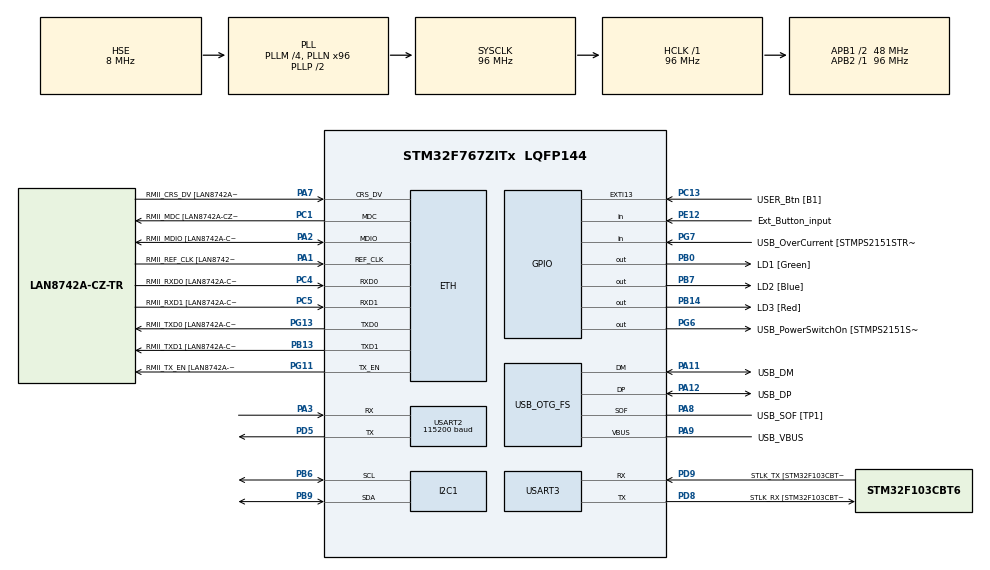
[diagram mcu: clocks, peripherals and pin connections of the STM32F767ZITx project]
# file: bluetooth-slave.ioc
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ETH.MediaInterface=HAL_ETH_RMII_MODE
ETH.PHY_Name=LAN8742A_PHY_ADDRESS
ETH.PHY_Value=0
ETH.PhyAddress=0
I2C1.Timing=0x20303E5D
Mcu.Family=STM32F7
Mcu.Name=STM32F767ZITx
Mcu.Package=LQFP144
NVIC.PriorityGroup=NVIC_PRIORITYGROUP_4
NVIC.USART2_IRQn=true\:0\:0\:false\:false\:true\:true\:true\:true
PA1.GPIO_Label=RMII_REF_CLK [LAN8742A-CZ-TR_REFCLK0]
PA1.Mode=RMII
PA1.Signal=ETH_REF_CLK
PA10.GPIO_Label=USB_ID
PA10.Signal=USB_OTG_FS_ID
PA11.GPIO_Label=USB_DM
PA11.Mode=Device_Only
PA11.Signal=USB_OTG_FS_DM
PA12.GPIO_Label=USB_DP
PA12.Mode=Device_Only
PA12.Signal=USB_OTG_FS_DP
PA13.GPIO_Label=TMS
PA13.Mode=Serial_Wire
PA13.Signal=SYS_JTMS-SWDIO
PA14.GPIO_Label=TCK
PA14.Mode=Serial_Wire
PA14.Signal=SYS_JTCK-SWCLK
PA2.GPIO_Label=RMII_MDIO [LAN8742A-CZ-TR_MDIO]
PA2.Mode=RMII
PA2.Signal=ETH_MDIO
PA3.Mode=Asynchronous
PA3.Signal=USART2_RX
PA7.GPIO_Label=RMII_CRS_DV [LAN8742A-CZ-TR_CRS_DV]
PA7.Mode=RMII
PA7.Signal=ETH_CRS_DV
PA8.GPIO_Label=USB_SOF [TP1]
PA8.Mode=Activate_SOF_FS
PA8.Signal=USB_OTG_FS_SOF
PA9.GPIO_Label=USB_VBUS
PA9.Mode=Activate_VBUS
PA9.Signal=USB_OTG_FS_VBUS
PB0.GPIO_Label=LD1 [Green]
PB0.Signal=GPIO_Output
PB13.GPIO_Label=RMII_TXD1 [LAN8742A-CZ-TR_TXD1]
PB13.Mode=RMII
PB13.Signal=ETH_TXD1
PB14.GPIO_Label=LD3 [Red]
PB14.Signal=GPIO_Output
PB3.GPIO_Label=SWO
PB3.Signal=SYS_JTDO-SWO
PB6.GPIO_Pu=GPIO_PULLUP
PB6.Mode=I2C
PB6.Signal=I2C1_SCL
PB7.GPIO_Label=LD2 [Blue]
PB7.Signal=GPIO_Output
PB9.GPIO_Pu=GPIO_PULLUP
PB9.Mode=I2C
PB9.Signal=I2C1_SDA
PC1.GPIO_Label=RMII_MDC [LAN8742A-CZ-TR_MDC]
PC1.Mode=RMII
PC1.Signal=ETH_MDC
PC13.GPIO_Label=USER_Btn [B1]
PC13.Signal=GPXTI13
PC14/OSC32_IN.Mode=LSE-External-Oscillator
PC14/OSC32_IN.Signal=RCC_OSC32_IN
PC15/OSC32_OUT.Mode=LSE-External-Oscillator
PC15/OSC32_OUT.Signal=RCC_OSC32_OUT
PC4.GPIO_Label=RMII_RXD0 [LAN8742A-CZ-TR_RXD0]
PC4.Mode=RMII
PC4.Signal=ETH_RXD0
PC5.GPIO_Label=RMII_RXD1 [LAN8742A-CZ-TR_RXD1]
PC5.Mode=RMII
PC5.Signal=ETH_RXD1
PD5.Mode=Asynchronous
PD5.Signal=USART2_TX
PD8.GPIO_Label=STLK_RX [STM32F103CBT6_PA3]
PD8.Mode=Asynchronous
PD8.Signal=USART3_TX
PD9.GPIO_Label=STLK_TX [STM32F103CBT6_PA2]
PD9.Mode=Asynchronous
PD9.Signal=USART3_RX
PE12.GPIO_Label=Ext_Button_input
PE12.GPIO_PuPd=GPIO_NOPULL
PE12.Signal=GPIO_Input
PG11.GPIO_Label=RMII_TX_EN [LAN8742A-CZ-TR_TXEN]
PG11.Mode=RMII
PG11.Signal=ETH_TX_EN
PG13.GPIO_Label=RMII_TXD0 [LAN8742A-CZ-TR_TXD0]
PG13.Mode=RMII
PG13.Signal=ETH_TXD0
PG6.GPIO_Label=USB_PowerSwitchOn [STMPS2151STR_EN]
PG6.Signal=GPIO_Output
PG7.GPIO_Label=USB_OverCurrent [STMPS2151STR_FAULT]
PG7.Signal=GPIO_Input
PH0/OSC_IN.GPIO_Label=MCO [STM32F103CBT6_PA8]
PH0/OSC_IN.Mode=HSE-External-Clock-Source
PH0/OSC_IN.Signal=RCC_OSC_IN
PH1/OSC_OUT.Mode=HSE-External-Clock-Source
PH1/OSC_OUT.Signal=RCC_OSC_OUT
ProjectManager.HeapSize=0x200
ProjectManager.StackSize=0x400
ProjectManager.TargetToolchain=STM32CubeIDE
RCC.48MHZClocksFreq_Value=24000000
RCC.AHBFreq_Value=96000000
RCC.APB1CLKDivider=RCC_HCLK_DIV2
RCC.APB1Freq_Value=48000000
RCC.APB1TimFreq_Value=96000000
RCC.APB2Freq_Value=96000000
RCC.APB2TimFreq_Value=96000000
RCC.CortexFreq_Value=96000000
RCC.HCLKFreq_Value=96000000
RCC.HSE_VALUE=8000000
RCC.HSI_VALUE=16000000
RCC.PLLM=4
RCC.PLLMUL=RCC_PLL_MUL9
RCC.PLLN=96
RCC.PLLQ=4
RCC.PRESCALERUSB=RCC_USBCLKSOURCE_PLL_DIV1_5
RCC.SYSCLKFreq_VALUE=96000000
RCC.SYSCLKSource=RCC_SYSCLKSOURCE_PLLCLK
RCC.SYSCLKSourceVirtual=RCC_SYSCLKSOURCE_PLLCLK
RCC.USBFreq_Value=48000000
RCC.VCOOutputFreq_Value=192000000
USART2.BaudRate=115200
USART2.VirtualMode-Asynchronous=VM_ASYNC
USART3.VirtualMode-Asynchronous=VM_ASYNC
USB_OTG_FS.VirtualMode=Device_Only
board=NUCLEO-F767ZI

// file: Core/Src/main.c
/* USER CODE BEGIN Header */
/**
  ******************************************************************************
  * @file           : main.c
  * @brief          : Main program body
  ******************************************************************************
  * @attention
  *
  * Copyright (c) 2025 STMicroelectronics.
  * All rights reserved.
  *
  * This software is licensed under terms that can be found in the LICENSE file
  * in the root directory of this software component.
  * If no LICENSE file comes with this software, it is provided AS-IS.
  *
  ******************************************************************************
  */
/* USER CODE END Header */
#include "main.h"
#include "string.h"

/* USER CODE BEGIN Includes */
#include "i2c-lcd.h"
/* USER CODE END Includes */

/* USER CODE BEGIN PD */
#define BUFFER_LEN   1
/* USER CODE END PD */

#if defined ( __ICCARM__ ) /*!< IAR Compiler */
#pragma location=0x2007c000
ETH_DMADescTypeDef  DMARxDscrTab[ETH_RX_DESC_CNT]; /* Ethernet Rx DMA Descriptors */
#pragma location=0x2007c0a0
ETH_DMADescTypeDef  DMATxDscrTab[ETH_TX_DESC_CNT]; /* Ethernet Tx DMA Descriptors */

#elif defined ( __CC_ARM )  /* MDK ARM Compiler */

__attribute__((at(0x2007c000))) ETH_DMADescTypeDef  DMARxDscrTab[ETH_RX_DESC_CNT]; /* Ethernet Rx DMA Descriptors */
__attribute__((at(0x2007c0a0))) ETH_DMADescTypeDef  DMATxDscrTab[ETH_TX_DESC_CNT]; /* Ethernet Tx DMA Descriptors */

#elif defined ( __GNUC__ ) /* GNU Compiler */

ETH_DMADescTypeDef DMARxDscrTab[ETH_RX_DESC_CNT] __attribute__((section(".RxDecripSection"))); /* Ethernet Rx DMA Descriptors */
ETH_DMADescTypeDef DMATxDscrTab[ETH_TX_DESC_CNT] __attribute__((section(".TxDecripSection")));   /* Ethernet Tx DMA Descriptors */
#endif

ETH_TxPacketConfig TxConfig;

ETH_HandleTypeDef heth;

I2C_HandleTypeDef hi2c1;

UART_HandleTypeDef huart2;
UART_HandleTypeDef huart3;

PCD_HandleTypeDef hpcd_USB_OTG_FS;

/* USER CODE BEGIN PV */
uint8_t RX_BUFFER[BUFFER_LEN] = {0};
uint8_t TX_BUFFER[BUFFER_LEN] = {0};
/* USER CODE END PV */

void SystemClock_Config(void);
static void MX_GPIO_Init(void);
static void MX_ETH_Init(void);
static void MX_I2C1_Init(void);
static void MX_USART3_UART_Init(void);
static void MX_USB_OTG_FS_PCD_Init(void);
static void MX_USART2_UART_Init(void);

/* USER CODE BEGIN 0 */
void HAL_UART_RxCpltCallback(UART_HandleTypeDef *huart) {
//	if (huart->Instance == huart2.Instance) {
//		HAL_UART_Receive_IT(&huart2, RX_BUFFER, BUFFER_LEN);
//	}
	if (huart->Instance == huart2.Instance) {
			if (RX_BUFFER[0] == 'f') {
				HAL_GPIO_WritePin(GPIOB, GPIO_PIN_7, 1);
			}
			else if (RX_BUFFER[0] == '0') {
				HAL_GPIO_WritePin(GPIOB, GPIO_PIN_7, 0);
			}
			HAL_UART_Receive_IT(&huart2, RX_BUFFER, BUFFER_LEN);
		}
}
/* USER CODE END 0 */

int main(void)
{

  /* MCU Configuration--------------------------------------------------------*/

  /* Reset of all peripherals, Initializes the Flash interface and the Systick. */
  HAL_Init();

  /* Configure the system clock */
  SystemClock_Config();

  /* Initialize all configured peripherals */
  MX_GPIO_Init();
  MX_ETH_Init();
  MX_I2C1_Init();
  MX_USART3_UART_Init();
  MX_USB_OTG_FS_PCD_Init();
  MX_USART2_UART_Init();
  /* USER CODE BEGIN 2 */
  lcd_init();
  lcd_send_string("Voltage= ");
  HAL_UART_Receive_IT(&huart2, RX_BUFFER, BUFFER_LEN);
  /* USER CODE END 2 */

  /* Infinite loop */
  while (1)
  {

    /* USER CODE BEGIN 3 */
	  // Read Input Pin, and prepare to send data over UART
	  if (HAL_GPIO_ReadPin(GPIOC, GPIO_PIN_13)) {
		  TX_BUFFER[0] = '1';
	  }
	  else {
		  TX_BUFFER[0] = '0';
	  }
	  // Send data in TX_BUFFER via Bluetooth
	  HAL_UART_Transmit(&huart2, TX_BUFFER, 1, 10);
	  // Calculate voltage level from RX Buffer
	  // Display voltage level on RX_BUFFER on LCD
	  // lcd_put_cur(0, 9);
	  // lcd_send_data(RX_BUFFER[0]);
	  HAL_Delay(300);
  }
  /* USER CODE END 3 */
}

void SystemClock_Config(void)
{
  RCC_OscInitTypeDef RCC_OscInitStruct = {0};
  RCC_ClkInitTypeDef RCC_ClkInitStruct = {0};

  /** Configure LSE Drive Capability
  */
  HAL_PWR_EnableBkUpAccess();

  /** Configure the main internal regulator output voltage
  */
  __HAL_RCC_PWR_CLK_ENABLE();
  __HAL_PWR_VOLTAGESCALING_CONFIG(PWR_REGULATOR_VOLTAGE_SCALE3);

  /** Initializes the RCC Oscillators according to the specified parameters
  * in the RCC_OscInitTypeDef structure.
  */
  RCC_OscInitStruct.OscillatorType = RCC_OSCILLATORTYPE_HSE;
  RCC_OscInitStruct.HSEState = RCC_HSE_BYPASS;
  RCC_OscInitStruct.PLL.PLLState = RCC_PLL_ON;
  RCC_OscInitStruct.PLL.PLLSource = RCC_PLLSOURCE_HSE;
  RCC_OscInitStruct.PLL.PLLM = 4;
  RCC_OscInitStruct.PLL.PLLN = 96;
  RCC_OscInitStruct.PLL.PLLP = RCC_PLLP_DIV2;
  RCC_OscInitStruct.PLL.PLLQ = 4;
  RCC_OscInitStruct.PLL.PLLR = 2;
  if (HAL_RCC_OscConfig(&RCC_OscInitStruct) != HAL_OK)
  {
    Error_Handler();
  }

  /** Activate the Over-Drive mode
  */
  if (HAL_PWREx_EnableOverDrive() != HAL_OK)
  {
    Error_Handler();
  }

  /** Initializes the CPU, AHB and APB buses clocks
  */
  RCC_ClkInitStruct.ClockType = RCC_CLOCKTYPE_HCLK|RCC_CLOCKTYPE_SYSCLK
                              |RCC_CLOCKTYPE_PCLK1|RCC_CLOCKTYPE_PCLK2;
  RCC_ClkInitStruct.SYSCLKSource = RCC_SYSCLKSOURCE_PLLCLK;
  RCC_ClkInitStruct.AHBCLKDivider = RCC_SYSCLK_DIV1;
  RCC_ClkInitStruct.APB1CLKDivider = RCC_HCLK_DIV2;
  RCC_ClkInitStruct.APB2CLKDivider = RCC_HCLK_DIV1;

  if (HAL_RCC_ClockConfig(&RCC_ClkInitStruct, FLASH_LATENCY_3) != HAL_OK)
  {
    Error_Handler();
  }
}

static void MX_ETH_Init(void)
{

   static uint8_t MACAddr[6];

  heth.Instance = ETH;
  MACAddr[0] = 0x00;
  MACAddr[1] = 0x80;
  MACAddr[2] = 0xE1;
  MACAddr[3] = 0x00;
  MACAddr[4] = 0x00;
  MACAddr[5] = 0x00;
  heth.Init.MACAddr = &MACAddr[0];
  heth.Init.MediaInterface = HAL_ETH_RMII_MODE;
  heth.Init.TxDesc = DMATxDscrTab;
  heth.Init.RxDesc = DMARxDscrTab;
  heth.Init.RxBuffLen = 1524;

  if (HAL_ETH_Init(&heth) != HAL_OK)
  {
    Error_Handler();
  }

  memset(&TxConfig, 0 , sizeof(ETH_TxPacketConfig));
  TxConfig.Attributes = ETH_TX_PACKETS_FEATURES_CSUM | ETH_TX_PACKETS_FEATURES_CRCPAD;
  TxConfig.ChecksumCtrl = ETH_CHECKSUM_IPHDR_PAYLOAD_INSERT_PHDR_CALC;
  TxConfig.CRCPadCtrl = ETH_CRC_PAD_INSERT;

}

static void MX_I2C1_Init(void)
{

  hi2c1.Instance = I2C1;
  hi2c1.Init.Timing = 0x20303E5D;
  hi2c1.Init.OwnAddress1 = 0;
  hi2c1.Init.AddressingMode = I2C_ADDRESSINGMODE_7BIT;
  hi2c1.Init.DualAddressMode = I2C_DUALADDRESS_DISABLE;
  hi2c1.Init.OwnAddress2 = 0;
  hi2c1.Init.OwnAddress2Masks = I2C_OA2_NOMASK;
  hi2c1.Init.GeneralCallMode = I2C_GENERALCALL_DISABLE;
  hi2c1.Init.NoStretchMode = I2C_NOSTRETCH_DISABLE;
  if (HAL_I2C_Init(&hi2c1) != HAL_OK)
  {
    Error_Handler();
  }

  /** Configure Analogue filter
  */
  if (HAL_I2CEx_ConfigAnalogFilter(&hi2c1, I2C_ANALOGFILTER_ENABLE) != HAL_OK)
  {
    Error_Handler();
  }

  /** Configure Digital filter
  */
  if (HAL_I2CEx_ConfigDigitalFilter(&hi2c1, 0) != HAL_OK)
  {
    Error_Handler();
  }

}

static void MX_USART2_UART_Init(void)
{

  huart2.Instance = USART2;
  huart2.Init.BaudRate = 115200;
  huart2.Init.WordLength = UART_WORDLENGTH_8B;
  huart2.Init.StopBits = UART_STOPBITS_1;
  huart2.Init.Parity = UART_PARITY_NONE;
  huart2.Init.Mode = UART_MODE_TX_RX;
  huart2.Init.HwFlowCtl = UART_HWCONTROL_NONE;
  huart2.Init.OverSampling = UART_OVERSAMPLING_16;
  huart2.Init.OneBitSampling = UART_ONE_BIT_SAMPLE_DISABLE;
  huart2.AdvancedInit.AdvFeatureInit = UART_ADVFEATURE_NO_INIT;
  if (HAL_UART_Init(&huart2) != HAL_OK)
  {
    Error_Handler();
  }

}

static void MX_USART3_UART_Init(void)
{

  huart3.Instance = USART3;
  huart3.Init.BaudRate = 115200;
  huart3.Init.WordLength = UART_WORDLENGTH_8B;
  huart3.Init.StopBits = UART_STOPBITS_1;
  huart3.Init.Parity = UART_PARITY_NONE;
  huart3.Init.Mode = UART_MODE_TX_RX;
  huart3.Init.HwFlowCtl = UART_HWCONTROL_NONE;
  huart3.Init.OverSampling = UART_OVERSAMPLING_16;
  huart3.Init.OneBitSampling = UART_ONE_BIT_SAMPLE_DISABLE;
  huart3.AdvancedInit.AdvFeatureInit = UART_ADVFEATURE_NO_INIT;
  if (HAL_UART_Init(&huart3) != HAL_OK)
  {
    Error_Handler();
  }

}

static void MX_USB_OTG_FS_PCD_Init(void)
{

  hpcd_USB_OTG_FS.Instance = USB_OTG_FS;
  hpcd_USB_OTG_FS.Init.dev_endpoints = 6;
  hpcd_USB_OTG_FS.Init.speed = PCD_SPEED_FULL;
  hpcd_USB_OTG_FS.Init.dma_enable = DISABLE;
  hpcd_USB_OTG_FS.Init.phy_itface = PCD_PHY_EMBEDDED;
  hpcd_USB_OTG_FS.Init.Sof_enable = ENABLE;
  hpcd_USB_OTG_FS.Init.low_power_enable = DISABLE;
  hpcd_USB_OTG_FS.Init.lpm_enable = DISABLE;
  hpcd_USB_OTG_FS.Init.vbus_sensing_enable = ENABLE;
  hpcd_USB_OTG_FS.Init.use_dedicated_ep1 = DISABLE;
  if (HAL_PCD_Init(&hpcd_USB_OTG_FS) != HAL_OK)
  {
    Error_Handler();
  }

}

static void MX_GPIO_Init(void)
{
  GPIO_InitTypeDef GPIO_InitStruct = {0};

  /* GPIO Ports Clock Enable */
  __HAL_RCC_GPIOC_CLK_ENABLE();
  __HAL_RCC_GPIOH_CLK_ENABLE();
  __HAL_RCC_GPIOA_CLK_ENABLE();
  __HAL_RCC_GPIOB_CLK_ENABLE();
  __HAL_RCC_GPIOE_CLK_ENABLE();
  __HAL_RCC_GPIOD_CLK_ENABLE();
  __HAL_RCC_GPIOG_CLK_ENABLE();

  /*Configure GPIO pin Output Level */
  HAL_GPIO_WritePin(GPIOB, LD1_Pin|LD3_Pin|LD2_Pin, GPIO_PIN_RESET);

  /*Configure GPIO pin Output Level */
  HAL_GPIO_WritePin(USB_PowerSwitchOn_GPIO_Port, USB_PowerSwitchOn_Pin, GPIO_PIN_RESET);

  /*Configure GPIO pin : USER_Btn_Pin */
  GPIO_InitStruct.Pin = USER_Btn_Pin;
  GPIO_InitStruct.Mode = GPIO_MODE_IT_RISING;
  GPIO_InitStruct.Pull = GPIO_NOPULL;
  HAL_GPIO_Init(USER_Btn_GPIO_Port, &GPIO_InitStruct);

  /*Configure GPIO pins : LD1_Pin LD3_Pin LD2_Pin */
  GPIO_InitStruct.Pin = LD1_Pin|LD3_Pin|LD2_Pin;
  GPIO_InitStruct.Mode = GPIO_MODE_OUTPUT_PP;
  GPIO_InitStruct.Pull = GPIO_NOPULL;
  GPIO_InitStruct.Speed = GPIO_SPEED_FREQ_LOW;
  HAL_GPIO_Init(GPIOB, &GPIO_InitStruct);

  /*Configure GPIO pin : Ext_Button_input_Pin */
  GPIO_InitStruct.Pin = Ext_Button_input_Pin;
  GPIO_InitStruct.Mode = GPIO_MODE_INPUT;
  GPIO_InitStruct.Pull = GPIO_NOPULL;
  HAL_GPIO_Init(Ext_Button_input_GPIO_Port, &GPIO_InitStruct);

  /*Configure GPIO pin : USB_PowerSwitchOn_Pin */
  GPIO_InitStruct.Pin = USB_PowerSwitchOn_Pin;
  GPIO_InitStruct.Mode = GPIO_MODE_OUTPUT_PP;
  GPIO_InitStruct.Pull = GPIO_NOPULL;
  GPIO_InitStruct.Speed = GPIO_SPEED_FREQ_LOW;
  HAL_GPIO_Init(USB_PowerSwitchOn_GPIO_Port, &GPIO_InitStruct);

  /*Configure GPIO pin : USB_OverCurrent_Pin */
  GPIO_InitStruct.Pin = USB_OverCurrent_Pin;
  GPIO_InitStruct.Mode = GPIO_MODE_INPUT;
  GPIO_InitStruct.Pull = GPIO_NOPULL;
  HAL_GPIO_Init(USB_OverCurrent_GPIO_Port, &GPIO_InitStruct);

}

void Error_Handler(void)
{
  __disable_irq();
  while (1)
  {
  }
}
